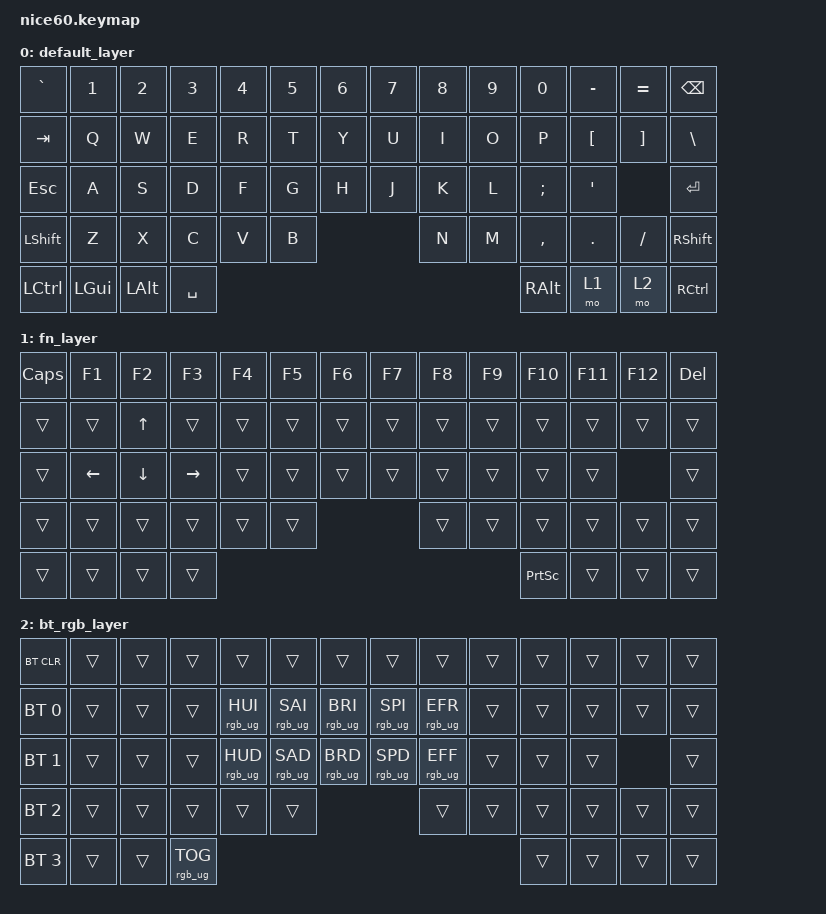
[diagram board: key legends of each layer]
/*
 * Copyright (c) 2021 Nick Winans
 *
 * SPDX-License-Identifier: MIT
 */

#include <behaviors.dtsi>
#include <dt-bindings/zmk/keys.h>
#include <dt-bindings/zmk/rgb.h>
#include <dt-bindings/zmk/bt.h>
#include <dt-bindings/zmk/outputs.h>
#include <dt-bindings/zmk/reset.h>
#include <dt-bindings/zmk/ext_power.h>

/ {

	keymap {
		compatible = "zmk,keymap";
		
		default_layer {
// ------------------------------------------------------------------------------------------
// | ~  |  1  |  2  |  3  |  4  |  5  |  6  |  7  |  8  |  9  |  0  |  -  |  =  |  BKSP  |
// | TAB |  Q  |  W  |  E  |  R  |  T  |  Y  |  U  |  I  |  O  |  P  |  [  |  ]  |   \   |
// | ESC  |  A  |  S  |  D  |  F  |  G  |  H  |  J  |  K  |  L  |  ;  |  '  |     ENTER  |
// | SHIFT |  Z  |  X  |  C  |  V  |  B  |  N  |  M  |  ,  |  .  |  /  |      SHIFT      |
// |  CTL  |  WIN  |  ALT  |            SPACE              |  ALT  | MO(1) | MO(2) | CTL |
// ------------------------------------------------------------------------------------------
			bindings = <
	&kp GRAVE &kp N1 &kp N2 &kp N3 &kp N4 &kp N5 &kp N6 &kp N7 &kp N8 &kp N9 &kp N0 &kp MINUS &kp EQUAL &kp BSPC
	&kp TAB   &kp Q  &kp W  &kp E  &kp R  &kp T  &kp Y  &kp U  &kp I  &kp O  &kp P  &kp LBKT  &kp RBKT  &kp BSLH
	&kp ESC   &kp A  &kp S  &kp D  &kp F  &kp G  &kp H  &kp J  &kp K  &kp L  &kp SEMI &kp SQT           &kp RET
	&kp LSHFT &kp Z  &kp X  &kp C  &kp V  &kp B  &kp N  &kp M  &kp COMMA &kp DOT &kp FSLH               &kp RSHFT
	&kp LCTRL &kp LGUI &kp LALT             &kp SPACE                     &kp RALT  &mo 1  &mo 2        &kp RCTRL
			>;
		};

		fn_layer {
// ------------------------------------------------------------------------------------------------
// | CAPS | F1  | F2  | F3  | F4  | F5  | F6  | F7  | F8  | F9  | F10  | F11 | F12 | DEL |
// |       |     |  UP |     |     |     |     |     |     |     |      |     |     |    |
// |        | LT |  DN  | RT |      |     |     |     |     |     |      |     |         |
// |         |     |      |      |     |     |     |     |     |     |     |             |
// |    |      |      |                             | PRT SCR |       |       |      |   |
// ------------------------------------------------------------------------------------------------
			bindings = <
	&kp CAPS &kp F1    &kp F2    &kp F3    &kp F4  &kp F5 &kp F6 &kp F7 &kp F8 &kp F9 &kp F10 &kp F11 &kp F12 &kp DEL
	&trans   &trans    &kp UP    &trans    &trans  &trans &trans &trans &trans &trans &trans  &trans  &trans  &trans 
	&trans   &kp LEFT  &kp DOWN  &kp RIGHT &trans  &trans &trans &trans &trans &trans &trans  &trans  &trans
	&trans   &trans    &trans    &trans    &trans  &trans &trans &trans &trans &trans &trans  &trans
	&trans   &trans   &trans               &trans             &kp PSCRN      &trans      &trans               &trans
			>;
		};

		bt_rgb_layer {
// ------------------------------------------------------------------------------------------------
// | BT CLR |      |      |      |       |     |     |     |     |     |     |     |     |     |
// |  BT 1   |   |   |   | HUEUP | SATUP | BRIUP | SPDUP | EFFECT REV  |   |   |    |    |     |
// |   BT 2   |  |    |  | HUEDN | SATDN | BRIDN | SPDDN | EFFECT FORW  |     |   |     |      |
// |    BT 3     |     |      |      |     |     |     |     |     |     |     |               |
// |   BT 4  |      |      |             TOG RGB                |      |       |       |       |
// ------------------------------------------------------------------------------------------------
			bindings = <
	&bt BT_CLR   &trans    &trans    &trans  &trans           &trans          &trans          &trans          &trans   &trans   &trans  &trans &trans  &trans
	&bt BT_SEL 0  &trans    &trans    &trans  &rgb_ug RGB_HUI  &rgb_ug RGB_SAI &rgb_ug RGB_BRI &rgb_ug RGB_SPI  &rgb_ug RGB_EFR   &trans   &trans   &trans  &trans          &trans 
	&bt BT_SEL 1   &trans  &trans  &trans &rgb_ug RGB_HUD &rgb_ug RGB_SAD &rgb_ug RGB_BRD &rgb_ug RGB_SPD &rgb_ug RGB_EFF   &trans   &trans   &trans        &trans
	&bt BT_SEL 2    &trans    &trans    &trans   &trans          &trans          &trans          &trans          &trans   &trans   &trans                          &trans
	&bt BT_SEL 3  &trans   &trans                            &rgb_ug RGB_TOG                                      &trans      &trans      &trans               &trans
			>;
		};
	};
};
